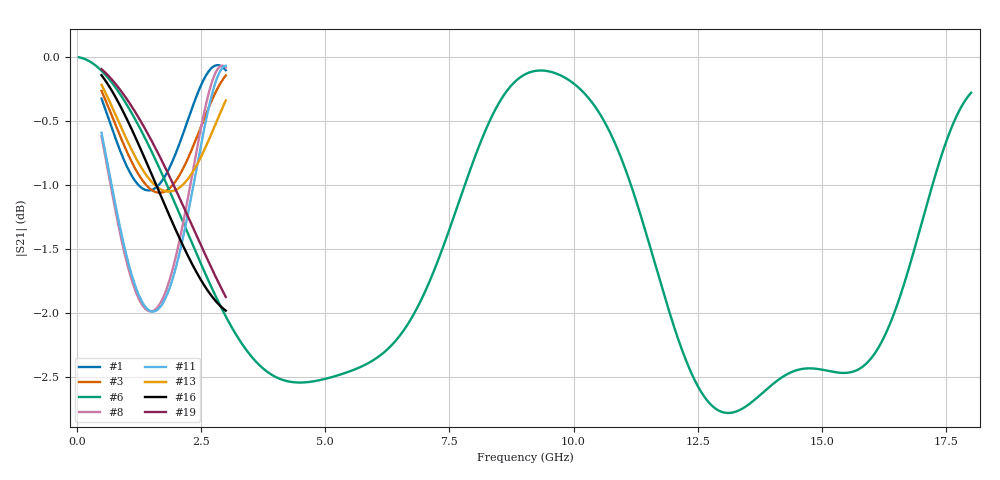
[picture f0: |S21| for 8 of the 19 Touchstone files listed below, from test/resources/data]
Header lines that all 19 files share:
!freq-unit  param-type  data-format  keyword  impedance-ohms
# GHZ  S  RI  R  50
!Freq  ReS11  ImS11  ReS21  ImS21  ReS12  ImS12  ReS22  ImS22
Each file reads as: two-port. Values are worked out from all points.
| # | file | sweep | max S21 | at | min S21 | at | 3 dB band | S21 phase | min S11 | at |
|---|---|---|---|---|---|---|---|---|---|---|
| 1 | 5.s2p | 500 MHz to 3 GHz | -0.07 dB | 2.84 GHz | -1.0 dB | 1.45 GHz | 500 MHz-3 GHz | 128 deg at 1.75 GHz | -52.5 dB | 2.84 GHz |
| 2 | 10.s2p | 500 MHz to 3 GHz | -0.13 dB | 3 GHz | -1.0 dB | 1.66 GHz | 500 MHz-3 GHz | 159 deg at 1.75 GHz | -17.8 dB | 3 GHz |
| 3 | 13.s2p | 500 MHz to 3 GHz | -0.15 dB | 3 GHz | -1.1 dB | 1.67 GHz | 500 MHz-3 GHz | 78 deg at 1.75 GHz | -18.3 dB | 3 GHz |
| 4 | 15.s2p | 500 MHz to 3 GHz | -0.07 dB | 2.94 GHz | -2.0 dB | 1.5 GHz | 500 MHz-3 GHz | 117 deg at 1.75 GHz | -43.6 dB | 2.95 GHz |
| 5 | 18.s2p | 500 MHz to 3 GHz | -0.47 dB | 500 MHz | -2.0 dB | 1.77 GHz | 500 MHz-3 GHz | 146 deg at 1.75 GHz | -10.4 dB | 3 GHz |
| 6 | 0018a.s2p | 45 MHz to 18 GHz | 0.00 dB | 45 MHz | -2.8 dB | 13.11 GHz | 45 MHz-18 GHz | -112 deg at 9.025 GHz | -51.3 dB | 9.345 GHz |
| 7 | 0018b.s2p | 45 MHz to 18 GHz | -0.01 dB | 45 MHz | -3.3 dB | 16.52 GHz | 45 MHz-11.59 GHz | 79 deg at 9.025 GHz | -47.3 dB | 4.765 GHz |
| 8 | 19.s2p | 500 MHz to 3 GHz | -0.07 dB | 2.93 GHz | -2.0 dB | 1.49 GHz | 500 MHz-3 GHz | 132 deg at 1.75 GHz | -49.0 dB | 2.93 GHz |
| 9 | 20rho1.s2p | 500 MHz to 3 GHz | -0.46 dB | 500 MHz | -2.0 dB | 1.78 GHz | 500 MHz-3 GHz | 146 deg at 1.75 GHz | -10.4 dB | 3 GHz |
| 10 | 21.s2p | 500 MHz to 3 GHz | -0.07 dB | 2.83 GHz | -2.0 dB | 1.44 GHz | 500 MHz-3 GHz | 133 deg at 1.75 GHz | -46.5 dB | 2.83 GHz |
| 11 | 23.s2p | 500 MHz to 3 GHz | -0.07 dB | 3 GHz | -2.0 dB | 1.53 GHz | 500 MHz-3 GHz | 132 deg at 1.75 GHz | -40.3 dB | 3 GHz |
| 12 | 27.s2p | 500 MHz to 3 GHz | -1.13 dB | 500 MHz | -4.2 dB | 1.79 GHz | 500 MHz-1.68 GHz | 146 deg at 1.75 GHz | -6.5 dB | 500 MHz |
| 13 | 28.s2p | 500 MHz to 3 GHz | -0.22 dB | 500 MHz | -1.1 dB | 1.85 GHz | 500 MHz-3 GHz | 149 deg at 1.75 GHz | -13.4 dB | 500 MHz |
| 14 | 29.s2p | 500 MHz to 3 GHz | -0.08 dB | 2.87 GHz | -1.1 dB | 1.48 GHz | 500 MHz-3 GHz | 86 deg at 1.75 GHz | -53.7 dB | 2.87 GHz |
| 15 | 34.s2p | 500 MHz to 3 GHz | -0.08 dB | 3 GHz | -2.0 dB | 1.56 GHz | 500 MHz-3 GHz | 132 deg at 1.75 GHz | -25.5 dB | 3 GHz |
| 16 | 35.s2p | 500 MHz to 3 GHz | -0.14 dB | 500 MHz | -2.0 dB | 3 GHz | 500 MHz-3 GHz | -176 deg at 1.75 GHz | -15.3 dB | 500 MHz |
| 17 | 36.s2p | 500 MHz to 3 GHz | -0.07 dB | 1.73 GHz | -2.1 dB | 2.58 GHz | 500 MHz-3 GHz | 52 deg at 1.75 GHz | -46.5 dB | 1.73 GHz |
| 18 | 42.s2p | 500 MHz to 3 GHz | -0.16 dB | 500 MHz | -2.4 dB | 3 GHz | 500 MHz-3 GHz | -173 deg at 1.75 GHz | -14.9 dB | 500 MHz |
| 19 | 43.s2p | 500 MHz to 3 GHz | -0.10 dB | 500 MHz | -1.9 dB | 3 GHz | 500 MHz-3 GHz | -163 deg at 1.75 GHz | -17.2 dB | 500 MHz |
